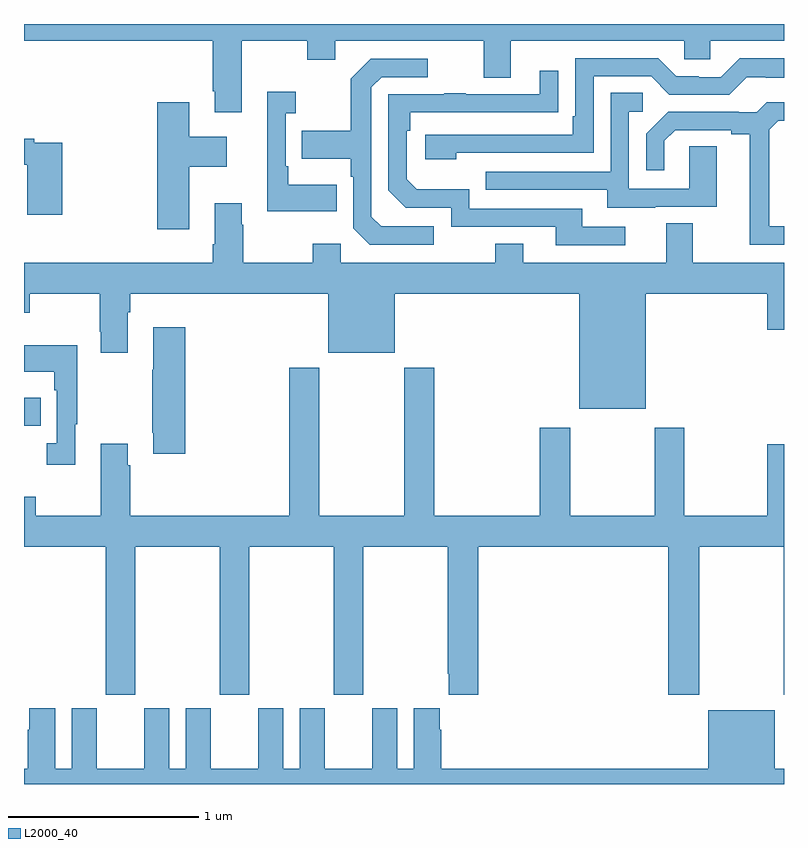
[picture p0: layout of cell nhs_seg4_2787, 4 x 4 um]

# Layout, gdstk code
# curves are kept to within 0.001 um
import gdstk
lib = gdstk.Library(unit=1e-6, precision=1e-09)
def R(c, l, rs):  # rectangles x0, y0, x1, y1
    for r in rs: c.add(gdstk.rectangle(r[:2], r[2:], *l))
def P(c, l, *ps):  # polygons
    for p in ps: c.add(gdstk.Polygon(p, *l))
L2000_40 = (2000, 40)

nhs_seg4_2787 = lib.new_cell('nhs_seg4_2787')
R(nhs_seg4_2787, L2000_40, [(257,802.786,257.087,802.933)])
P(nhs_seg4_2787, L2000_40, [(258.145,804.812),(258.49,804.812),(258.49,804.713),(258.637,804.713),(258.637,804.812),(259.421,804.812),(259.421,804.618),(259.561,804.618),(259.561,804.812),(260.475,804.812),(260.475,804.714),(260.613,804.714),(260.613,804.812),(261,804.812),(261,804.9),(257,804.9),(257,804.812),(257.993,804.812),(257.993,804.547),(258.005,804.547),(258.005,804.435),(258.145,804.435)],
  [(259.274,804.222),(259.998,804.222),(259.998,804.624),(260.301,804.624),(260.397,804.528),(260.712,804.528),(260.805,804.621),(260.905,804.621),(260.905,804.617),(261,804.617),(261,804.721),(260.767,804.721),(260.667,804.621),(260.552,804.621),(260.552,804.624),(260.433,804.624),(260.337,804.72),(259.902,804.72),(259.902,804.415),(259.889,804.415),(259.889,804.318),(259.113,804.318),(259.113,804.188),(259.274,804.188)],
  [(259.156,803.835),(258.879,803.835),(258.828,803.886),(258.828,804.567),(258.882,804.621),(259.126,804.621),(259.126,804.717),(258.825,804.717),(258.72,804.611),(258.72,804.339),(258.463,804.339),(258.463,804.191),(258.72,804.191),(258.72,804.095),(258.732,804.095),(258.732,803.826),(258.819,803.739),(259.156,803.739)],
  [(260.164,803.832),(259.939,803.832),(259.939,803.928),(259.344,803.928),(259.344,804.031),(259.067,804.031),(259.014,804.084),(259.014,804.338),(259.034,804.338),(259.034,804.435),(259.811,804.436),(259.811,804.655),(259.715,804.655),(259.715,804.531),(259.325,804.531),(259.325,804.536),(259.213,804.536),(259.213,804.531),(258.918,804.531),(258.918,804.024),(259.008,803.934),(259.248,803.934),(259.248,803.832),(259.799,803.832),(259.799,803.736),(260.164,803.736)],
  [(258.647,804.055),(258.391,804.055),(258.391,804.151),(258.378,804.151),(258.378,804.431),(258.43,804.431),(258.43,804.544),(258.281,804.544),(258.281,803.915),(258.647,803.915)],
  [(260.323,803.937),(260.647,803.937),(260.647,804.257),(260.502,804.257),(260.502,804.033),(260.184,804.033),(260.184,804.438),(260.257,804.438),(260.257,804.539),(260.088,804.539),(260.088,804.123),(259.429,804.123),(259.429,804.027),(260.069,804.027),(260.069,803.933),(260.323,803.933)],
  [(261,803.835),(260.923,803.835),(260.923,804.343),(260.97,804.39),(261,804.39),(261,804.487),(260.908,804.487),(260.856,804.435),(260.762,804.435),(260.762,804.438),(260.39,804.438),(260.274,804.322),(260.274,804.129),(260.371,804.129),(260.371,804.285),(260.428,804.342),(260.723,804.342),(260.723,804.32),(260.819,804.32),(260.819,803.739),(261,803.739)],
  [(257.869,804.149),(258.067,804.149),(258.067,804.307),(257.869,804.307),(257.869,804.487),(257.702,804.487),(257.702,803.82),(257.869,803.82)],
  [(257.201,804.276),(257.054,804.276),(257.054,804.296),(257,804.296),(257,804.16),(257.017,804.16),(257.017,803.895),(257.201,803.895)],
  [(260.272,803.48),(260.912,803.48),(260.912,803.292),(261,803.292),(261,803.644),(260.521,803.644),(260.521,803.852),(260.381,803.852),(260.381,803.644),(259.627,803.644),(259.627,803.743),(259.48,803.743),(259.48,803.644),(258.666,803.644),(258.666,803.743),(258.52,803.743),(258.52,803.644),(258.153,803.644),(258.153,803.843),(258.145,803.843),(258.145,803.956),(258.005,803.956),(258.005,803.74),(257.993,803.74),(257.993,803.644),(257,803.644),(257,803.381),(257.031,803.381),(257.031,803.48),(257.398,803.48),(257.398,803.281),(257.405,803.281),(257.405,803.169),(257.545,803.169),(257.545,803.384),(257.558,803.384),(257.558,803.48),(258.602,803.48),(258.602,803.171),(258.952,803.171),(258.952,803.48),(259.922,803.48),(259.922,802.874),(260.272,802.874)],
  [(257.849,803.305),(257.681,803.305),(257.681,803.081),(257.674,803.081),(257.674,802.75),(257.681,802.75),(257.681,802.638),(257.849,802.638)],
  [(257.269,802.793),(257.281,802.793),(257.281,803.209),(257,803.209),(257,803.069),(257.16,803.069),(257.16,802.973),(257.172,802.973),(257.172,802.694),(257.121,802.694),(257.121,802.581),(257.269,802.581)],
  [(259.16,803.092),(259,803.092),(259,802.312),(258.555,802.312),(258.555,803.092),(258.395,803.092),(258.395,802.312),(257.558,802.312),(257.558,802.577),(257.545,802.577),(257.545,802.69),(257.405,802.69),(257.405,802.312),(257.061,802.312),(257.061,802.411),(257,802.411),(257,802.148),(257.431,802.148),(257.431,801.369),(257.586,801.369),(257.586,802.148),(258.031,802.148),(258.031,801.369),(258.186,801.369),(258.186,802.148),(258.631,802.148),(258.631,801.369),(258.786,801.369),(258.786,802.148),(259.231,802.148),(259.231,801.481),(259.235,801.481),(259.235,801.369),(259.391,801.369),(259.391,802.148),(260.392,802.148),(260.392,801.369),(260.553,801.369),(260.553,802.148),(260.998,802.148),(260.998,801.369),(261,801.369),(261,802.687),(260.912,802.687),(260.912,802.312),(260.475,802.312),(260.475,802.774),(260.32,802.774),(260.32,802.312),(259.875,802.312),(259.875,802.774),(259.715,802.774),(259.715,802.312),(259.16,802.312)],
  [(261,800.98),(260.95,800.98),(260.95,801.289),(260.6,801.289),(260.6,800.98),(259.196,800.98),(259.196,801.185),(259.189,801.185),(259.189,801.298),(259.052,801.298),(259.052,800.98),(258.964,800.98),(258.964,801.298),(258.833,801.298),(258.833,800.98),(258.583,800.98),(258.583,801.298),(258.452,801.298),(258.452,800.98),(258.364,800.98),(258.364,801.298),(258.233,801.298),(258.233,800.98),(257.983,800.98),(257.983,801.298),(257.852,801.298),(257.852,800.98),(257.764,800.98),(257.764,801.298),(257.633,801.298),(257.633,800.98),(257.383,800.98),(257.383,801.298),(257.252,801.298),(257.252,800.98),(257.164,800.98),(257.164,801.298),(257.027,801.298),(257.027,801.185),(257.021,801.185),(257.021,800.98),(257,800.98),(257,800.9),(261,800.9)])

lib.write_gds('nhs_seg4_2787.gds')
